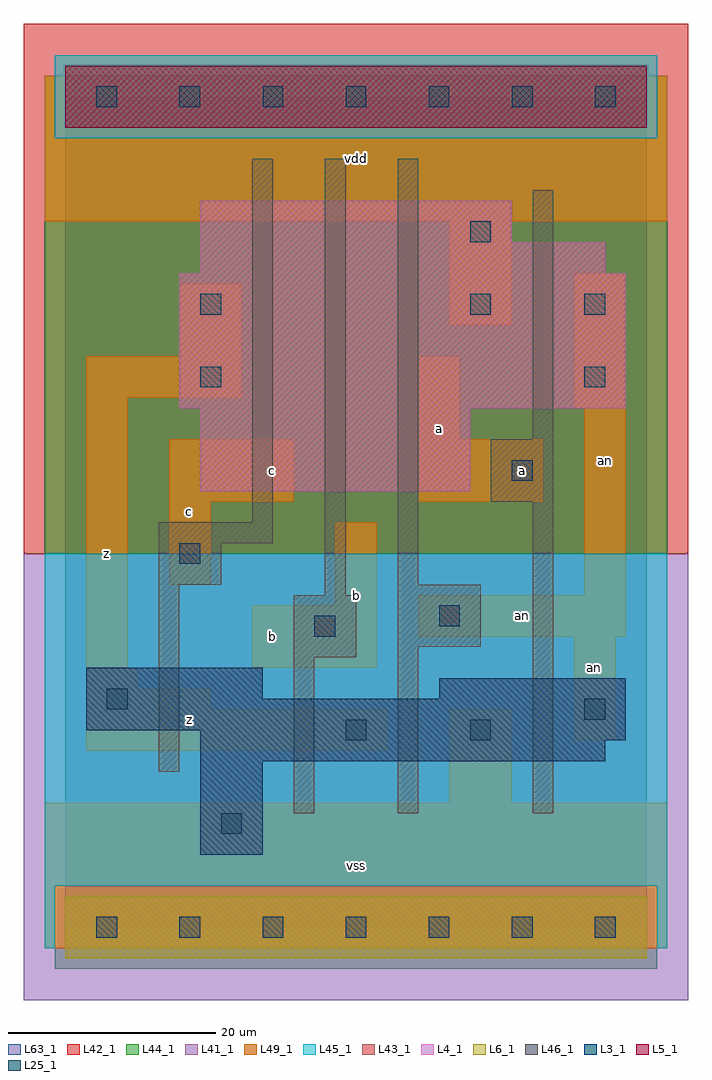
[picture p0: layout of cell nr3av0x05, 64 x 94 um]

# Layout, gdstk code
import gdstk
lib = gdstk.Library(unit=1e-6, precision=1e-09)
def R(c, l, rs):  # rectangles x0, y0, x1, y1
    for r in rs: c.add(gdstk.rectangle(r[:2], r[2:], *l))
def A(c, l, x, y, w, h, nx, ny, dx, dy):  # array of equal rectangles
    R(c, l, [(x+i*dx, y+j*dy, x+i*dx+w, y+j*dy+h) for i in range(nx) for j in range(ny)])
L3_1 = (3, 1)
L4_1 = (4, 1)
L5_1 = (5, 1)
L6_1 = (6, 1)
L25_1 = (25, 1)
L41_1 = (41, 1)
L42_1 = (42, 1)
L43_1 = (43, 1)
L44_1 = (44, 1)
L45_1 = (45, 1)
L46_1 = (46, 1)
L49_1 = (49, 1)
L63_1 = (63, 1)

nr3av0x05 = lib.new_cell('nr3av0x05')
R(nr3av0x05, L3_1, [(13,7,19,16), (13,16,52,18), (13,18,54,19), (2,19,54,22), (2,22,19,25), (36,22,54,24)])
R(nr3av0x05, L4_1, [(13,42,39,50), (11,50,54,63), (13,63,52,66), (13,66,43,70)])
R(nr3av0x05, L5_1, [(0,77,56,83)])
R(nr3av0x05, L6_1, [(0,-3,56,3), (0,-3,56,3)])
A(nr3av0x05, L25_1, 3, -1, 2, 2, 7, 2, 8, 80)
R(nr3av0x05, L25_1, [(15,9,17,11), (27,18,29,20), (39,18,41,20), (50,20,52,22), (4,21,6,23), (24,28,26,30), (36,29,38,31), (11,35,13,37), (43,43,45,45), (13,52,15,54), (50,52,52,54), (13,59,15,61), (39,59,41,61), (50,59,52,61), (39,66,41,68)])
R(nr3av0x05, L41_1, [(-4,-7,60,36)])
R(nr3av0x05, L42_1, [(-4,36,60,87)])
R(nr3av0x05, L43_1, [(0,-3,56,3), (13,7,19,16), (13,16,52,18), (13,18,54,19), (2,19,54,22), (2,22,19,25), (36,22,54,24), (13,42,39,50), (11,50,54,63), (13,63,52,66), (13,66,43,70), (0,77,56,83)])
R(nr3av0x05, L44_1, [(-1,-4,57,4), (-2,36,58,76), (-2,76,-1,82), (57,76,58,82)])
R(nr3av0x05, L45_1, [(-2,-2,-1,4), (57,-2,58,4), (-2,4,58,36), (-1,76,57,84)])
R(nr3av0x05, L46_1, [(22,11,24,26), (32,11,34,27), (45,11,47,41), (9,15,11,33), (22,26,28,32), (32,27,40,33), (25,32,27,74), (9,33,15,37), (32,33,34,74), (9,37,20,39), (18,39,20,74), (41,41,47,47), (45,47,47,71)])
R(nr3av0x05, L49_1, [(-2,-2,58,12), (37,12,43,21), (2,17,31,21), (49,18,53,28), (2,21,14,23), (2,23,7,25), (2,25,6,51), (18,25,30,31), (34,28,54,32), (26,31,30,39), (50,32,54,50), (10,33,14,41), (10,41,22,47), (34,41,46,47), (34,47,38,55), (49,50,54,63), (2,51,17,55), (11,55,17,62), (37,58,43,68), (-2,68,58,82)])
R(nr3av0x05, L63_1, [(0,0,56,80)])
nr3av0x05.add(gdstk.Label('z', (4,36), layer=49, texttype=1))
nr3av0x05.add(gdstk.Label('z', (12,20), layer=49, texttype=1))
nr3av0x05.add(gdstk.Label('b', (20,28), layer=49, texttype=1))
nr3av0x05.add(gdstk.Label('c', (20,44), layer=49, texttype=1))
nr3av0x05.add(gdstk.Label('c', (12,40), layer=49, texttype=1))
nr3av0x05.add(gdstk.Label('vss', (28,6), layer=49, texttype=1))
nr3av0x05.add(gdstk.Label('b', (28,32), layer=49, texttype=1))
nr3av0x05.add(gdstk.Label('a', (36,48), layer=49, texttype=1))
nr3av0x05.add(gdstk.Label('vdd', (28,74), layer=49, texttype=1))
nr3av0x05.add(gdstk.Label('an', (51,25), layer=49, texttype=1))
nr3av0x05.add(gdstk.Label('an', (44,30), layer=49, texttype=1))
nr3av0x05.add(gdstk.Label('a', (44,44), layer=49, texttype=1))
nr3av0x05.add(gdstk.Label('an', (52,45), layer=49, texttype=1))

lib.write_gds('nr3av0x05.gds')
